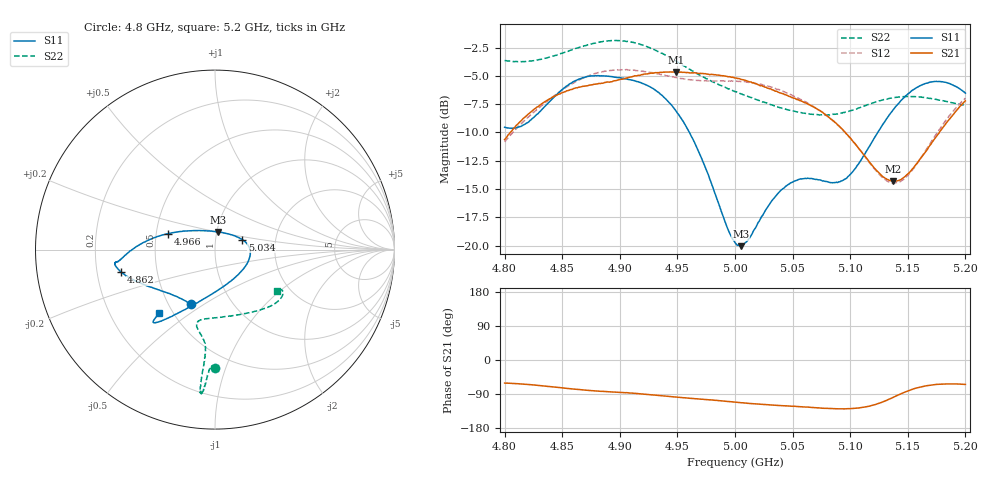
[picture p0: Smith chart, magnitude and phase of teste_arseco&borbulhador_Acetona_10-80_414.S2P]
! Network Analyzer HP8722D
! Hewlett-Packard
! Data name: Linha & Wilkinson
! Saver's name: Rodrigo Anjos
! Comments: Teste da utilização de aquisição
! continua pelo VNA HP8722D
! Time and date: 17/4/2025 17:48
!  Frequency  S11  S21  S12  S22
# HZ  S  MA R 50
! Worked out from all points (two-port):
!   401 points, 4.8 GHz to 5.2 GHz, reference 50 ohm
!   highest |S21| = -4.64 dB at 4.949 GHz (marker M1); lowest = -14.3 dB at 5.137 GHz (marker M2)
!   |S21| within 3 dB of the highest: 4.83 GHz to 5.066 GHz (236.3 MHz wide, 4.77 % of centre); 5.195816 GHz to end of sweep
!   lowest |S11| = -20.0 dB at 5.005 GHz (marker M3), VSWR 1.22, Z = 50.6 + j10 ohm
!   |S11| at or under -10 dB: 4.96 GHz to 5.124 GHz (163.5 MHz wide, 3.24 % of centre)
!   |S22| runs from -8.5 to -1.9 dB; largest |S21 - S12| = 0.88
!   S11 on the Smith chart (normalised r, x): 4.8 GHz: 0.64, -0.44; 4.862 GHz: 0.30, -0.11; 4.966 GHz: 0.58, +0.11; 5.034 GHz: 1.35, +0.15; 5.2 GHz: 0.42, -0.39
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4.8e9  0.3335 -113.8  0.2939 -60.9  0.2872 -175.1  0.6577 -90.1
4.819e9  0.3481 -133.9  0.3747 -64.4  0.3634 -173.9  0.6527 -91.7
4.862e9  0.5372 -166.4  0.4986 -77.3  0.5315 -177.1  0.7448 -93.9
4.867e9  0.5498 -168.4  0.5046 -78.9  0.547 -178.1  0.7582 -94.2
4.898e9  0.5533 -172.8  0.5381 -84.8  0.5979 175.6  0.8055 -95.5
4.934e9  0.4741 -179.1  0.5816 -93.6  0.5745 171.7  0.718 -96.0
4.949e9  0.3925 173.7  0.5859 -97.7  0.5538 172.0  0.6514 -95.6
4.966e9  0.2773 161.4  0.5798 -102.2  0.538 173.7  0.5797 -95.2
4.993e9  0.1211 119.7  0.5594 -109.3  0.5336 176.0  0.4961 -97.9
5e9  0.1032 98.4  0.5507 -111.4  0.5334 176.1  0.4793 -99.4
5.005e9  0.09946 80.9  0.5433 -112.7  0.5307 176.0  0.4682 -100.6
5.012e9  0.107 58.9  0.5308 -114.5  0.5263 175.7  0.4544 -102.1
5.034e9  0.1623 19.9  0.4842 -119.3  0.4965 174.6  0.4148 -103.5
5.05e9  0.1908 4.0  0.4506 -122.2  0.4599 173.9  0.3935 -99.4
5.067e9  0.1978 -14.5  0.4133 -125.3  0.4162 173.5  0.3799 -90.5
5.085e9  0.1897 -42.9  0.3567 -128.4  0.3567 173.5  0.3808 -76.9
5.097e9  0.1988 -67.4  0.3107 -128.7  0.3109 174.7  0.39 -67.1
5.134e9  0.3785 -117.2  0.1942 -103.3  0.1909 -156.1  0.4475 -43.0
5.137e9  0.3962 -118.9  0.1924 -99.2  0.1892 -151.4  0.4502 -41.7
5.15e9  0.4673 -124.9  0.2073 -81.8  0.2038 -131.4  0.456 -36.8
5.17e9  0.5282 -129.5  0.2804 -66.1  0.2856 -112.3  0.4472 -32.1
5.2e9  0.4719 -131.2  0.4358 -64.5  0.4482 -106.7  0.4156 -33.5
